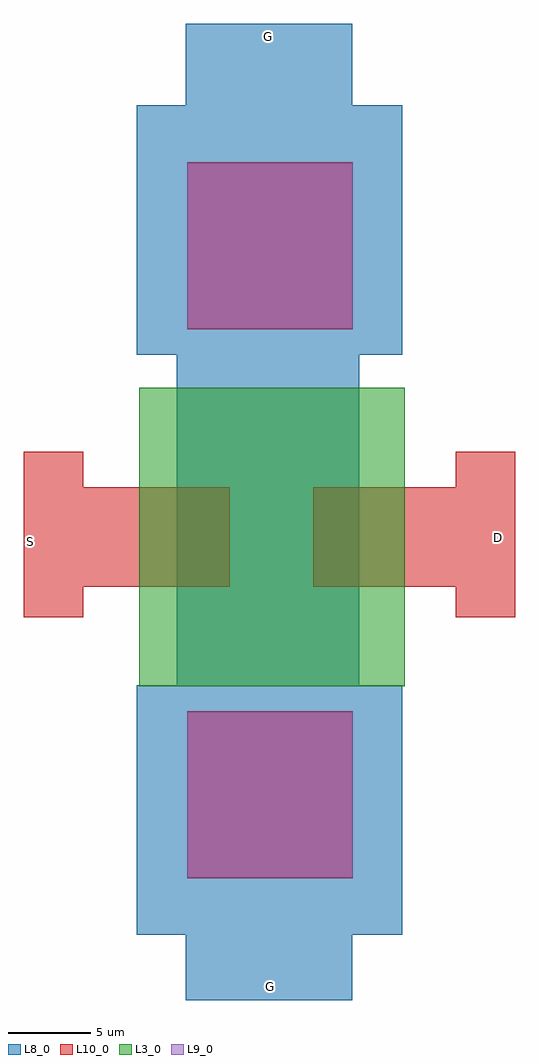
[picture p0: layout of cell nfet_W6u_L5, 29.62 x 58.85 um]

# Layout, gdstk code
import gdstk
lib = gdstk.Library(unit=1e-6, precision=5e-10)
def R(c, l, rs):  # rectangles x0, y0, x1, y1
    for r in rs: c.add(gdstk.rectangle(r[:2], r[2:], *l))
def P(c, l, *ps):  # polygons
    for p in ps: c.add(gdstk.Polygon(p, *l))
L3_0 = (3, 0)
L8_0 = (8, 0)
L9_0 = (9, 0)
L10_0 = (10, 0)

pcont_cdns_782127390580 = lib.new_cell('pcont_CDNS_782127390580')

m2_m1_cdns_782127390580 = lib.new_cell('M2_M1_CDNS_782127390580')
R(m2_m1_cdns_782127390580, L8_0, [(-5,-5.035,5,5.035)])
R(m2_m1_cdns_782127390580, L9_0, [(-5,-5,5,5)])
R(m2_m1_cdns_782127390580, L10_0, [(-5,-5.035,5,5.035)])

nfet_w6u_l5 = lib.new_cell('nfet_W6u_L5')
R(nfet_w6u_l5, L3_0, [(7.2425,19.2125,23.2425,37.2375)])
R(nfet_w6u_l5, L8_0, [(10.03,0.31,20.0825,6.16), (13.9775,4.135,16.4775,6.635), (13.695,51.745,16.195,54.245), (10.03,53.3075,20.0825,59.1575)])
P(nfet_w6u_l5, L8_0, [(7.0925,4.2475),(7.0925,19.275),(9.5,19.275),(9.5,39.2175),(7.0925,39.2175),(7.0925,54.245),(23.0925,54.245),(23.0925,39.2175),(20.5,39.2175),(20.5,19.275),(23.0925,19.275),(23.0925,4.2475)])
R(nfet_w6u_l5, L10_0, [(0.28,23.3875,3.85,33.3725), (26.3275,23.3875,29.8975,33.3725), (2.6975,25.235,12.6975,31.235), (17.7225,25.235,27.7225,31.235), (25.2275,26.86,27.7275,29.36), (2.7125,26.8775,5.2125,29.3775)])
nfet_w6u_l5.add(gdstk.Reference(pcont_cdns_782127390580, (2.0325,39.985)))
nfet_w6u_l5.add(gdstk.Reference(m2_m1_cdns_782127390580, (15.12,45.795)))
nfet_w6u_l5.add(gdstk.Reference(m2_m1_cdns_782127390580, (15.12,12.68)))
nfet_w6u_l5.add(gdstk.Label('G', (15.1675,1.1075), layer=8, texttype=0))
nfet_w6u_l5.add(gdstk.Label('G', (15.035,58.415), layer=8, texttype=0))
nfet_w6u_l5.add(gdstk.Label('S', (0.6825,27.9525), layer=10, texttype=0))
nfet_w6u_l5.add(gdstk.Label('D', (28.8725,28.215), layer=10, texttype=0))

lib.write_gds('nfet_W6u_L5.gds')
